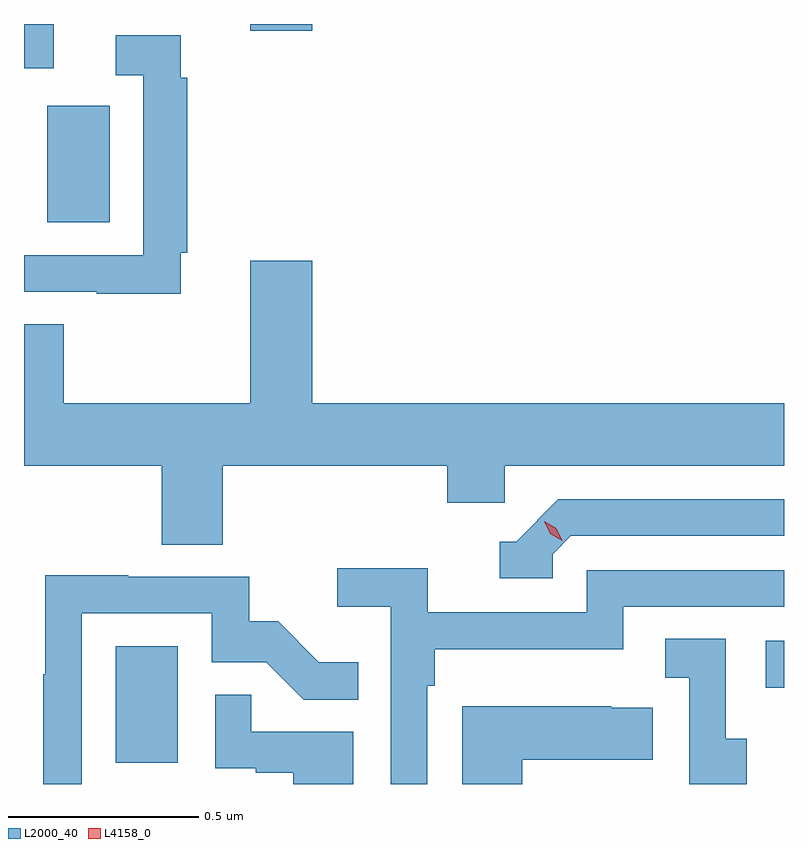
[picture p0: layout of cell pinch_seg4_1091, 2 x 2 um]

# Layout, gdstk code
import gdstk
lib = gdstk.Library(unit=1e-6, precision=1e-09)
def R(c, l, rs):  # rectangles x0, y0, x1, y1
    for r in rs: c.add(gdstk.rectangle(r[:2], r[2:], *l))
def P(c, l, *ps):  # polygons
    for p in ps: c.add(gdstk.Polygon(p, *l))
L2000_40 = (2000, 40)
L4158_0 = (4158, 0)

pinch_seg4_1091 = lib.new_cell('pinch_seg4_1091')
R(pinch_seg4_1091, L2000_40, [(883.934,761.406,884.098,761.713), (885.645,761.603,885.693,761.727), (883.754,762.828,883.918,763.135), (883.693,763.234,883.771,763.35), (884.288,763.332,884.452,763.35)])
P(pinch_seg4_1091, L2000_40, [(884.105,762.748),(884.123,762.748),(884.123,763.208),(884.105,763.208),(884.105,763.321),(883.935,763.321),(883.935,763.215),(884.007,763.215),(884.007,762.741),(883.693,762.741),(883.693,762.645),(883.885,762.645),(883.885,762.64),(884.105,762.64)],
  [(884.216,762.188),(884.807,762.188),(884.807,762.09),(884.958,762.09),(884.958,762.188),(885.693,762.188),(885.693,762.352),(884.452,762.352),(884.452,762.727),(884.288,762.727),(884.288,762.352),(883.797,762.352),(883.797,762.56),(883.693,762.56),(883.693,762.188),(884.056,762.188),(884.056,761.98),(884.216,761.98)],
  [(885.084,761.955),(885.132,762.003),(885.693,762.003),(885.693,762.099),(885.099,762.099),(884.988,761.988),(884.945,761.988),(884.945,761.892),(885.084,761.892)],
  [(884.754,761.609),(884.774,761.609),(884.774,761.705),(885.27,761.705),(885.27,761.817),(885.693,761.817),(885.693,761.913),(885.174,761.913),(885.174,761.802),(884.756,761.802),(884.756,761.918),(884.517,761.918),(884.517,761.816),(884.658,761.816),(884.658,761.35),(884.754,761.35)],
  [(883.845,761.799),(884.187,761.799),(884.187,761.67),(884.331,761.67),(884.429,761.572),(884.573,761.572),(884.573,761.671),(884.469,761.671),(884.362,761.778),(884.286,761.778),(884.286,761.895),(883.967,761.895),(883.967,761.9),(883.749,761.9),(883.749,761.639),(883.744,761.639),(883.744,761.35),(883.845,761.35)],
  [(885.595,761.469),(885.54,761.469),(885.54,761.732),(885.381,761.732),(885.381,761.629),(885.444,761.629),(885.444,761.35),(885.595,761.35)],
  [(884.56,761.487),(884.291,761.487),(884.291,761.585),(884.196,761.585),(884.196,761.391),(884.303,761.391),(884.303,761.379),(884.402,761.379),(884.402,761.35),(884.56,761.35)],
  [(885.004,761.414),(885.347,761.414),(885.347,761.551),(885.239,761.551),(885.239,761.554),(884.846,761.554),(884.846,761.35),(885.004,761.35)])
P(pinch_seg4_1091, L4158_0, [(885.109,761.99),(885.078,762.009),(885.062,762.042),(885.062,762.042),(885.062,762.042),(885.093,762.023),(885.109,761.99),(885.109,761.99)])

lib.write_gds('pinch_seg4_1091.gds')
